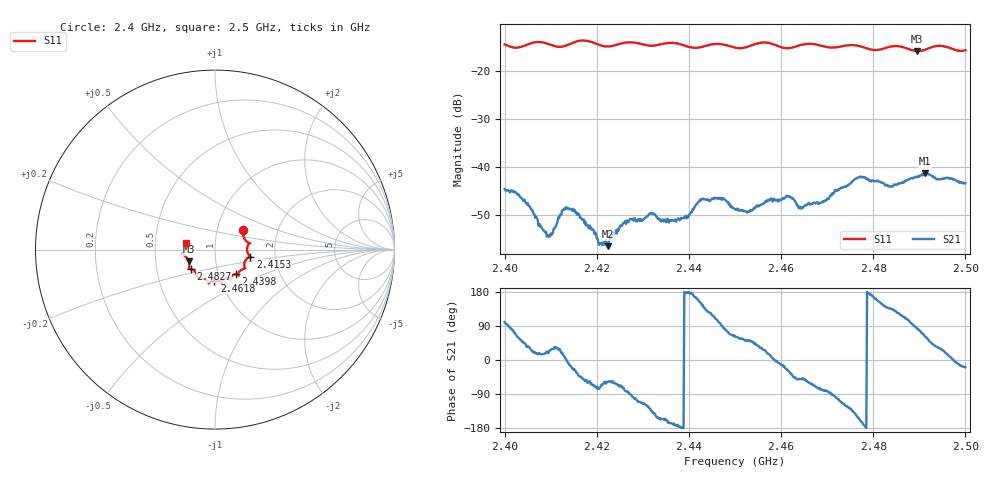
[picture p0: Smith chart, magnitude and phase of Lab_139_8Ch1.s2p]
# Hz S RI R 50
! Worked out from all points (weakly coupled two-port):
!   601 points, 2.4 GHz to 2.5 GHz, reference 50 ohm
!   highest |S21| = -41.30 dB at 2.4912 GHz (marker M1); lowest = -56.4 dB at 2.4225 GHz (marker M2)
!   lowest |S11| = -15.9 dB at 2.4895 GHz (marker M3), VSWR 1.38, Z = 37 - j5.02 ohm
!   |S11| at or under -10 dB: start of sweep to end of sweep
!   S12 and S22 are empty: the file has one direction only
!   S11 on the Smith chart (normalised r, x): 2.4 GHz: 1.33, +0.30; 2.4153 GHz: 1.48, -0.12; 2.4398 GHz: 1.21, -0.34; 2.4618 GHz: 0.94, -0.33; 2.4827 GHz: 0.75, -0.17; 2.5 GHz: 0.72, +0.06
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2.4e9  0.1554 0.107  -0.00103 0.00581  0 0  0 0
2.404667e9  0.1812 0.0412  0.00338 0.00255  0 0  0 0
2.409667e9  0.187 0.0294  0.00172 0.000762  0 0  0 0
2.413e9  0.1804 -0.0145  0.00367 0.000545  0 0  0 0
2.415333e9  0.1964 -0.0389  0.00301 -0.00157  0 0  0 0
2.416667e9  0.2023 -0.0431  0.00207 -0.00206  0 0  0 0
2.420833e9  0.1768 -0.0518  0.000539 -0.00153  0 0  0 0
2.4225e9  0.1648 -0.0702  0.000812 -0.00127  0 0  0 0
2.427e9  0.1687 -0.1036  5.7e-05 -0.00272  0 0  0 0
2.433333e9  0.1298 -0.1341  -0.00258 -0.00128  0 0  0 0
2.439833e9  0.1152 -0.1357  -0.003 1.6e-05  0 0  0 0
2.443167e9  0.0881 -0.1564  -0.00356 0.00307  0 0  0 0
2.45e9  0.0647 -0.1623  0.00161 0.00326  0 0  0 0
2.461833e9  -0.00337 -0.1726  0.00423 -0.00262  0 0  0 0
2.464167e9  -0.0292 -0.1829  0.00248 -0.00298  0 0  0 0
2.466667e9  -0.0346 -0.1879  0.00179 -0.00376  0 0  0 0
2.477e9  -0.0969 -0.1531  -0.00724 -0.0031  0 0  0 0
2.482667e9  -0.1349 -0.1083  -0.00497 0.00408  0 0  0 0
2.483333e9  -0.14 -0.108  -0.00463 0.0044  0 0  0 0
2.4895e9  -0.1459 -0.0661  0.000825 0.00778  0 0  0 0
2.491167e9  -0.1594 -0.0433  0.00397 0.00764  0 0  0 0
2.5e9  -0.1595 0.039  0.00642 -0.00219  0 0  0 0
